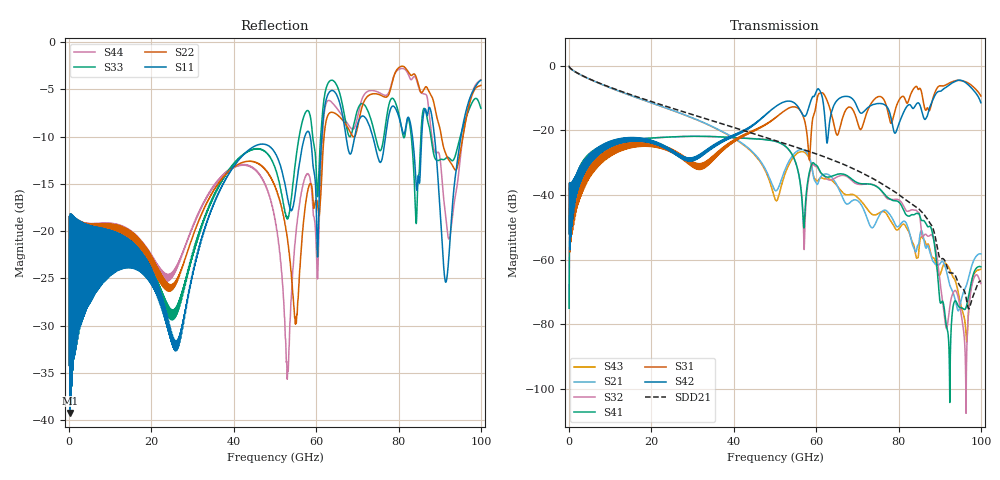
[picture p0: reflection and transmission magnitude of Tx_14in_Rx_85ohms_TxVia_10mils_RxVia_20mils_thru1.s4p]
! Info: Touchstone file created by Circ.  Input file=Tx_14in_Rx_85ohms_TxVia_10mils_RxVia_20mils.circ
# Hz S RI R 50
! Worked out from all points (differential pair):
!   10000 points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, 10 MHz to 100 GHz, reference 50 ohm
!   strongest paths, dB at 10 MHz, 25.01 GHz, 50.01 GHz, 75.01 GHz, 100 GHz:
!     S42: -52.0, -26.6, -12.8, -11.7, -11.5
!     S31: -52.0, -26.5, -16.2, -9.6, -9.4
!     S41: -75.1, -22.0, -23.4, -37.7, -62.2
!     S32: -75.1, -22.0, -23.3, -37.6, -67.4
!     S21: -0.1, -13.7, -38.6, -47.1, -58.2
!     S43: -0.1, -13.8, -41.2, -45.8, -63.0
!   taken as a pair (ports 1,3 in; 2,4 out), SDD21 dB: -0.1, -13.2, -23.1, -35.8, -66.6
!   lowest |S11| = -39.2 dB at 220 MHz (marker M1), VSWR 1.02, Z = 49.1 + j0.561 ohm
!   |S11| at or under -10 dB: start of sweep to 57.24 GHz; 73.75 GHz to 76.84 GHz (3.09 GHz wide, 4.1 % of centre); 88.75 GHz to 95.14 GHz (6.39 GHz wide, 6.95 % of centre)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
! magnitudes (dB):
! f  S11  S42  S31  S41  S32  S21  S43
! 10 MHz  -34.2  -52.0  -52.0  -75.1  -75.1  -0.1  -0.1
! 220 MHz  -39.2  -53.0  -53.2  -50.3  -50.3  -0.6  -0.6
! 6.95 GHz  -19.8  -27.6  -30.6  -25.4  -25.4  -5.3  -5.3
! 47.25 GHz  -10.8  -15.8  -18.6  -22.8  -22.8  -31.1  -31.5
! 84.79 GHz  -14.1  -11.5  -7.4  -45.7  -45.3  -55.5  -59.1
! 91.99 GHz  -24.0  -6.3  -5.6  -82.6  -79.3  -65.5  -62.0
! 100 GHz  -4.0  -11.5  -9.4  -62.2  -67.4  -58.2  -63.0
